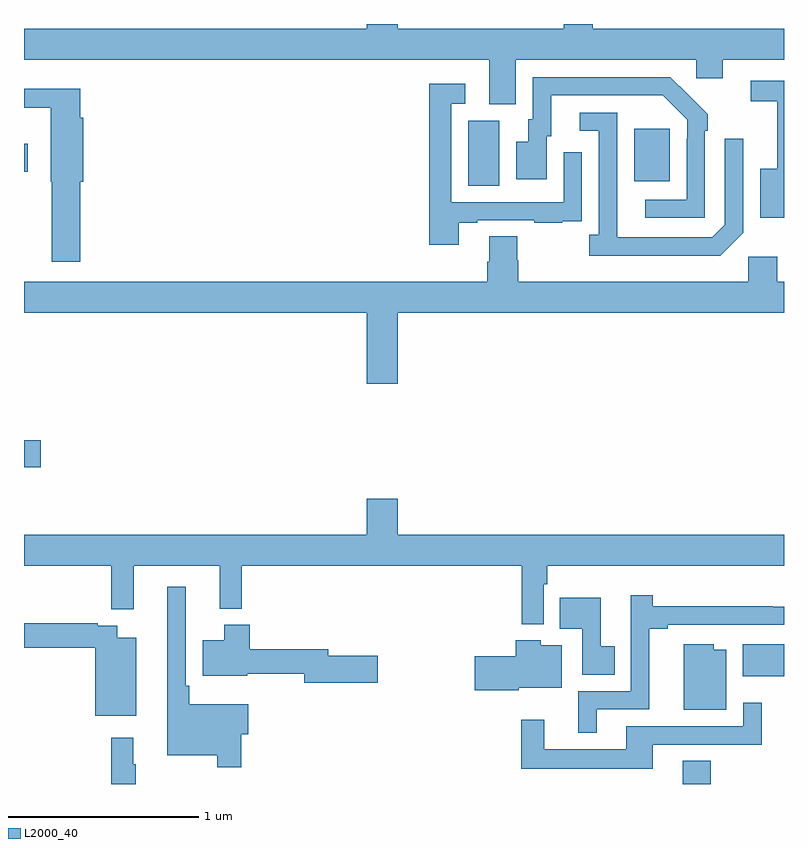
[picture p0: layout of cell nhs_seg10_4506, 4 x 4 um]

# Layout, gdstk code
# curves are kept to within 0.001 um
import gdstk
lib = gdstk.Library(unit=1e-6, precision=1e-09)
def R(c, l, rs):  # rectangles x0, y0, x1, y1
    for r in rs: c.add(gdstk.rectangle(r[:2], r[2:], *l))
def P(c, l, *ps):  # polygons
    for p in ps: c.add(gdstk.Polygon(p, *l))
L2000_40 = (2000, 40)

nhs_seg10_4506 = lib.new_cell('nhs_seg10_4506')
R(nhs_seg10_4506, L2000_40, [(370.466,1300.5,370.614,1300.622), (370.784,1301.066,371,1301.236), (367,1302.166,367.087,1302.308), (369.338,1303.648,369.502,1303.992), (370.211,1303.673,370.399,1303.948), (367,1303.723,367.021,1303.87)])
P(nhs_seg10_4506, L2000_40, [(369.589,1304.312),(370.539,1304.312),(370.539,1304.214),(370.678,1304.214),(370.678,1304.312),(371,1304.312),(371,1304.476),(369.994,1304.476),(369.994,1304.5),(369.842,1304.5),(369.842,1304.476),(368.968,1304.476),(368.968,1304.5),(368.804,1304.5),(368.804,1304.476),(367,1304.476),(367,1304.312),(369.449,1304.312),(369.449,1304.077),(369.589,1304.077)],
  [(370.584,1303.937),(370.599,1303.937),(370.599,1304.025),(370.402,1304.22),(369.678,1304.22),(369.678,1303.998),(369.653,1303.998),(369.653,1303.879),(369.59,1303.879),(369.59,1303.683),(369.751,1303.683),(369.751,1303.908),(369.775,1303.908),(369.775,1304.124),(370.363,1304.124),(370.491,1303.995),(370.491,1303.895),(370.488,1303.895),(370.488,1303.575),(370.269,1303.575),(370.269,1303.479),(370.584,1303.479)],
  [(371,1304.202),(370.824,1304.202),(370.824,1304.094),(370.964,1304.094),(370.964,1303.738),(370.874,1303.738),(370.874,1303.481),(371,1303.481)],
  [(369.289,1303.455),(369.385,1303.455),(369.385,1303.467),(369.685,1303.467),(369.685,1303.455),(369.833,1303.455),(369.833,1303.461),(369.935,1303.461),(369.935,1303.57),(369.936,1303.57),(369.936,1303.825),(369.84,1303.825),(369.84,1303.563),(369.249,1303.563),(369.249,1304.079),(369.322,1304.079),(369.322,1304.185),(369.133,1304.185),(369.133,1303.338),(369.289,1303.338)],
  [(367.295,1303.671),(367.313,1303.671),(367.313,1304.007),(367.295,1304.007),(367.295,1304.158),(367,1304.158),(367,1304.06),(367.142,1304.06),(367.142,1303.671),(367.145,1303.671),(367.145,1303.248),(367.295,1303.248)],
  [(370.785,1303.401),(370.785,1303.897),(370.689,1303.897),(370.689,1303.443),(370.623,1303.377),(370.123,1303.377),(370.122,1304.034),(369.924,1304.034),(369.924,1303.938),(370.026,1303.938),(370.026,1303.39),(369.975,1303.39),(369.975,1303.28),(370.664,1303.28)],
  [(368.968,1302.98),(371,1302.98),(371,1303.144),(370.964,1303.144),(370.964,1303.276),(370.812,1303.276),(370.812,1303.144),(369.602,1303.144),(369.602,1303.257),(369.597,1303.257),(369.597,1303.382),(369.449,1303.382),(369.449,1303.25),(369.437,1303.25),(369.437,1303.144),(367,1303.144),(367,1302.98),(368.804,1302.98),(368.804,1302.606),(368.968,1302.606)],
  [(369.735,1301.552),(369.755,1301.552),(369.755,1301.648),(371,1301.648),(371,1301.812),(368.968,1301.812),(368.968,1302.001),(368.804,1302.001),(368.804,1301.812),(367,1301.812),(367,1301.648),(367.459,1301.648),(367.459,1301.419),(367.577,1301.419),(367.577,1301.648),(368.03,1301.648),(368.03,1301.423),(368.147,1301.423),(368.147,1301.648),(369.619,1301.648),(369.619,1301.342),(369.735,1301.342)],
  [(368.144,1300.763),(368.179,1300.763),(368.179,1300.921),(367.871,1300.921),(367.871,1301.017),(367.851,1301.017),(367.851,1301.539),(367.754,1301.539),(367.754,1300.652),(368.016,1300.652),(368.016,1300.587),(368.144,1300.587)],
  [(370.015,1300.893),(370.292,1300.893),(370.292,1301.317),(370.387,1301.317),(370.387,1301.337),(371,1301.337),(371,1301.433),(370.94,1301.433),(370.94,1301.435),(370.31,1301.435),(370.31,1301.494),(370.194,1301.494),(370.194,1300.989),(369.917,1300.989),(369.917,1300.769),(370.015,1300.769)],
  [(370.109,1301.226),(370.036,1301.226),(370.036,1301.479),(369.82,1301.479),(369.82,1301.318),(369.939,1301.318),(369.939,1301.074),(370.109,1301.074)],
  [(367.591,1301.269),(367.492,1301.269),(367.492,1301.334),(367.388,1301.334),(367.388,1301.347),(367,1301.347),(367,1301.218),(367.376,1301.218),(367.376,1300.859),(367.591,1300.859)],
  [(368.863,1301.175),(368.602,1301.175),(368.602,1301.209),(368.189,1301.209),(368.189,1301.338),(368.054,1301.338),(368.054,1301.257),(367.94,1301.257),(367.94,1301.069),(368.176,1301.069),(368.176,1301.08),(368.474,1301.08),(368.474,1301.033),(368.863,1301.033)],
  [(369.603,1301.006),(369.829,1301.006),(369.829,1301.23),(369.72,1301.23),(369.72,1301.257),(369.587,1301.257),(369.587,1301.172),(369.372,1301.172),(369.372,1300.994),(369.603,1300.994)],
  [(370.696,1301.206),(370.63,1301.206),(370.63,1301.236),(370.472,1301.236),(370.472,1300.892),(370.696,1300.892)],
  [(370.309,1300.707),(370.883,1300.707),(370.883,1300.927),(370.785,1300.927),(370.785,1300.803),(370.169,1300.803),(370.169,1300.684),(369.739,1300.684),(369.739,1300.837),(369.618,1300.837),(369.618,1300.58),(370.309,1300.58)],
  [(367.588,1300.604),(367.576,1300.604),(367.576,1300.744),(367.459,1300.744),(367.459,1300.5),(367.588,1300.5)])

lib.write_gds('nhs_seg10_4506.gds')
